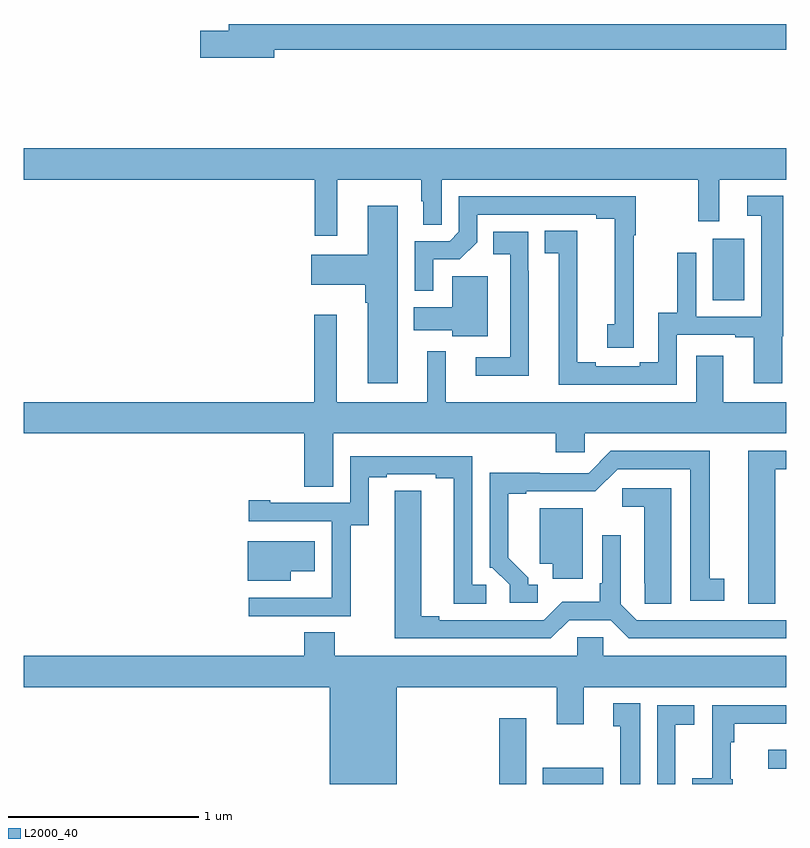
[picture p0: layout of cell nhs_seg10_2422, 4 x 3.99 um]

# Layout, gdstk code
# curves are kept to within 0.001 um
import gdstk
lib = gdstk.Library(unit=1e-6, precision=1e-09)
def R(c, l, rs):  # rectangles x0, y0, x1, y1
    for r in rs: c.add(gdstk.rectangle(r[:2], r[2:], *l))
def P(c, l, *ps):  # polygons
    for p in ps: c.add(gdstk.Polygon(p, *l))
L2000_40 = (2000, 40)

nhs_seg10_2422 = lib.new_cell('nhs_seg10_2422')
R(nhs_seg10_2422, L2000_40, [(243.494,1274.5,243.637,1274.845), (243.722,1274.5,244.041,1274.584), (244.905,1274.581,245,1274.68), (244.616,1277.038,244.78,1277.362)])
P(nhs_seg10_2422, L2000_40, [(242.314,1278.352),(245,1278.352),(245,1278.488),(242.075,1278.488),(242.075,1278.452),(241.926,1278.452),(241.926,1278.31),(242.314,1278.31)],
  [(242.644,1277.672),(243.084,1277.672),(243.084,1277.559),(243.095,1277.559),(243.095,1277.434),(243.192,1277.434),(243.192,1277.672),(244.539,1277.672),(244.539,1277.454),(244.648,1277.454),(244.648,1277.672),(245,1277.672),(245,1277.836),(241,1277.836),(241,1277.672),(242.527,1277.672),(242.527,1277.376),(242.644,1277.376)],
  [(244.425,1276.857),(244.733,1276.857),(244.733,1276.845),(244.829,1276.845),(244.829,1276.602),(244.979,1276.602),(244.979,1276.85),(244.985,1276.85),(244.985,1277.587),(244.797,1277.587),(244.797,1277.481),(244.869,1277.481),(244.869,1276.953),(244.527,1276.953),(244.527,1277.287),(244.429,1277.287),(244.429,1276.973),(244.329,1276.973),(244.329,1276.712),(244.232,1276.712),(244.232,1276.692),(244,1276.692),(244,1276.712),(243.904,1276.712),(243.904,1276.993),(243.905,1276.993),(243.905,1277.402),(243.733,1277.402),(243.733,1277.284),(243.806,1277.284),(243.806,1276.596),(244.425,1276.596)],
  [(244.201,1277.38),(244.211,1277.38),(244.211,1277.583),(243.282,1277.583),(243.282,1277.397),(243.234,1277.349),(243.051,1277.349),(243.051,1277.087),(243.147,1277.087),(243.147,1277.253),(243.288,1277.253),(243.378,1277.343),(243.378,1277.487),(244.004,1277.487),(244.004,1277.467),(244.1,1277.467),(244.1,1276.912),(244.061,1276.912),(244.061,1276.788),(244.201,1276.788)],
  [(242.962,1277.533),(242.804,1277.533),(242.804,1277.278),(242.508,1277.278),(242.508,1277.12),(242.792,1277.12),(242.792,1277.024),(242.804,1277.024),(242.804,1276.602),(242.962,1276.602)],
  [(243.649,1277.194),(243.648,1277.194),(243.648,1277.397),(243.463,1277.397),(243.463,1277.281),(243.552,1277.281),(243.552,1276.74),(243.372,1276.74),(243.372,1276.643),(243.649,1276.643)],
  [(243.433,1277.164),(243.248,1277.164),(243.248,1277.002),(243.047,1277.002),(243.047,1276.88),(243.248,1276.88),(243.248,1276.85),(243.433,1276.85)],
  [(242.623,1276.34),(243.791,1276.34),(243.791,1276.242),(243.942,1276.242),(243.942,1276.34),(245,1276.34),(245,1276.504),(244.669,1276.504),(244.669,1276.747),(244.529,1276.747),(244.529,1276.504),(243.214,1276.504),(243.214,1276.771),(243.116,1276.771),(243.116,1276.504),(242.641,1276.504),(242.641,1276.963),(242.524,1276.963),(242.524,1276.504),(241,1276.504),(241,1276.34),(242.471,1276.34),(242.471,1276.06),(242.623,1276.06)],
  [(244.942,1276.152),(245,1276.152),(245,1276.248),(244.802,1276.248),(244.802,1275.447),(244.942,1275.447)],
  [(243.697,1275.546),(243.646,1275.546),(243.646,1275.581),(243.541,1275.686),(243.541,1276.023),(243.637,1276.023),(243.637,1276.035),(243.999,1276.035),(244.116,1276.152),(244.496,1276.152),(244.496,1275.462),(244.675,1275.462),(244.675,1275.578),(244.6,1275.578),(244.6,1276.248),(244.08,1276.248),(243.963,1276.131),(243.707,1276.131),(243.707,1276.133),(243.444,1276.133),(243.444,1275.636),(243.459,1275.636),(243.549,1275.546),(243.549,1275.45),(243.697,1275.45)],
  [(242.715,1275.859),(242.809,1275.859),(242.809,1276.11),(242.905,1276.11),(242.905,1276.125),(243.161,1276.125),(243.161,1276.105),(243.257,1276.105),(243.257,1275.445),(243.427,1275.445),(243.427,1275.546),(243.354,1275.546),(243.354,1276.221),(242.712,1276.221),(242.712,1275.975),(242.293,1275.975),(242.293,1275.988),(242.181,1275.988),(242.181,1275.879),(242.616,1275.879),(242.616,1275.478),(242.615,1275.478),(242.615,1275.477),(242.181,1275.477),(242.181,1275.381),(242.715,1275.381)],
  [(244.396,1276.053),(244.14,1276.053),(244.14,1275.956),(244.256,1275.956),(244.256,1275.553),(244.257,1275.553),(244.257,1275.445),(244.396,1275.445)],
  [(243.861,1275.36),(244.079,1275.36),(244.175,1275.264),(245,1275.264),(245,1275.36),(244.215,1275.36),(244.131,1275.444),(244.131,1275.805),(244.035,1275.805),(244.035,1275.553),(244.023,1275.553),(244.023,1275.456),(243.825,1275.456),(243.729,1275.36),(243.181,1275.36),(243.181,1275.38),(243.085,1275.38),(243.085,1276.04),(242.946,1276.04),(242.945,1275.264),(243.765,1275.264)],
  [(243.934,1275.946),(243.707,1275.946),(243.707,1275.656),(243.776,1275.656),(243.776,1275.576),(243.934,1275.576)],
  [(242.401,1275.617),(242.527,1275.617),(242.527,1275.775),(242.174,1275.775),(242.174,1275.566),(242.401,1275.566)],
  [(242.956,1275.008),(243.797,1275.008),(243.797,1274.814),(243.937,1274.814),(243.937,1275.008),(245,1275.008),(245,1275.172),(244.041,1275.172),(244.041,1275.27),(243.903,1275.27),(243.903,1275.172),(242.631,1275.172),(242.631,1275.296),(242.471,1275.296),(242.471,1275.172),(241,1275.172),(241,1275.008),(242.606,1275.008),(242.606,1274.5),(242.956,1274.5)],
  [(244.234,1274.923),(244.094,1274.923),(244.094,1274.802),(244.13,1274.802),(244.13,1274.5),(244.234,1274.5)],
  [(244.72,1274.526),(244.709,1274.526),(244.709,1274.72),(244.727,1274.72),(244.727,1274.816),(245,1274.816),(245,1274.913),(244.611,1274.913),(244.611,1274.53),(244.508,1274.53),(244.508,1274.5),(244.72,1274.5)],
  [(244.419,1274.812),(244.519,1274.812),(244.519,1274.913),(244.323,1274.913),(244.323,1274.5),(244.419,1274.5)])

lib.write_gds('nhs_seg10_2422.gds')
